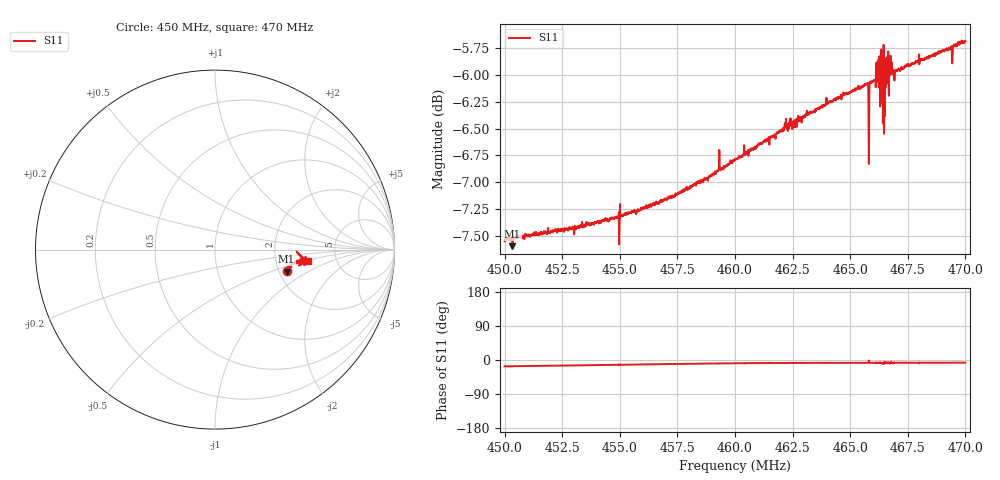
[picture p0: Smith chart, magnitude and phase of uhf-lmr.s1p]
! Calibrated averaged scanner-service zoom
# Hz S RI R 50
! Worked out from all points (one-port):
!   2001 points, 450 MHz to 470 MHz, reference 50 ohm
!   lowest |S11| = -7.6 dB at 450.34 MHz (marker M1), VSWR 2.43, Z = 110 - j32.5 ohm
!   |S11| at or under -10 dB: nowhere
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4.5e8  0.4017 -0.1199
4.5034e8  0.3986 -0.1224
4.525e8  0.4104 -0.1082
4.55e8  0.4181 -0.0972
4.575e8  0.4335 -0.0797
4.6e8  0.4529 -0.0685
4.625e8  0.4704 -0.064
4.65e8  0.4881 -0.0638
4.6568e8  0.492 -0.0639
4.6573e8  0.4925 -0.0642
4.6589e8  0.4928 -0.0648
4.6594e8  0.4936 -0.0638
4.6618e8  0.4942 -0.0628
4.6629e8  0.4939 -0.0624
4.6632e8  0.4917 -0.0695
4.6635e8  0.4817 -0.067
4.6639e8  0.498 -0.0713
4.6642e8  0.4674 -0.0887
4.6645e8  0.5144 -0.0588
4.665e8  0.4941 -0.0668
4.6653e8  0.492 -0.0472
4.6658e8  0.5033 -0.0747
4.6666e8  0.4958 -0.0658
4.6669e8  0.4982 -0.0642
4.6678e8  0.5047 -0.0395
4.6682e8  0.4973 -0.066
4.675e8  0.502 -0.0642
4.7e8  0.516 -0.0637
